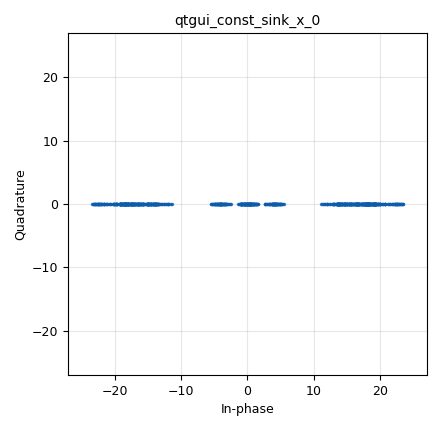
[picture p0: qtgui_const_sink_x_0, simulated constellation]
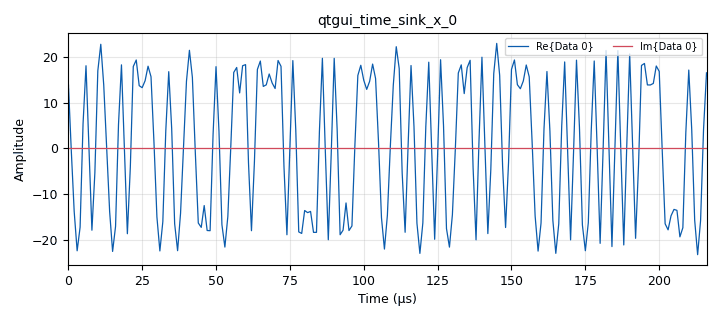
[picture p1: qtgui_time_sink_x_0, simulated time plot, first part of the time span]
<?xml version='1.0' encoding='utf-8'?>
<?grc format='1' created='3.7.11'?>
<flow_graph>
<block>
<key>options</key>
<param><key>id</key><value>signal_tx</value></param>
<param><key>generate_options</key><value>qt_gui</value></param>
</block>
<block>
<key>variable</key>
<param><key>id</key><value>bandwidth</value></param>
<param><key>value</key><value>1e6</value></param>
</block>
<block>
<key>variable</key>
<param><key>id</key><value>samp_rate</value></param>
<param><key>value</key><value>1e6</value></param>
</block>
<block>
<key>analog_random_source_x</key>
<param><key>id</key><value>analog_random_source_x_0</value></param>
<param><key>max</key><value>2**8</value></param>
<param><key>min</key><value>0</value></param>
<param><key>num_samps</key><value>10000</value></param>
<param><key>type</key><value>byte</value></param>
<param><key>repeat</key><value>True</value></param>
</block>
<block>
<key>blocks_multiply_const_vxx</key>
<param><key>id</key><value>blocks_multiply_const_vxx_0</value></param>
<param><key>const</key><value>15</value></param>
<param><key>type</key><value>complex</value></param>
</block>
<block>
<key>digital_psk_mod</key>
<param><key>id</key><value>digital_psk_mod_0</value></param>
<param><key>differential</key><value>True</value></param>
<param><key>excess_bw</key><value>0.35</value></param>
<param><key>mod_code</key><value>"gray"</value></param>
<param><key>constellation_points</key><value>2</value></param>
<param><key>samples_per_symbol</key><value>2</value></param>
</block>
<block>
<key>qtgui_const_sink_x</key>
<param><key>id</key><value>qtgui_const_sink_x_0</value></param>
<param><key>autoscale</key><value>True</value></param>
<param><key>size</key><value>1024</value></param>
<param><key>type</key><value>complex</value></param>
</block>
<block>
<key>qtgui_time_sink_x</key>
<param><key>id</key><value>qtgui_time_sink_x_0</value></param>
<param><key>autoscale</key><value>True</value></param>
<param><key>color1</key><value>"blue"</value></param>
<param><key>label1</key><value></value></param>
<param><key>color2</key><value>"red"</value></param>
<param><key>label2</key><value></value></param>
<param><key>size</key><value>1024</value></param>
<param><key>srate</key><value>samp_rate</value></param>
<param><key>type</key><value>complex</value></param>
</block>
<block>
<key>uhd_usrp_sink</key>
<param><key>id</key><value>uhd_usrp_sink_0</value></param>
<param><key>ant0</key><value></value></param>
<param><key>center_freq0</key><value>2622e6</value></param>
<param><key>norm_gain0</key><value>False</value></param>
<param><key>gain0</key><value>60</value></param>
<param><key>clock_rate</key><value>0.0</value></param>
<param><key>dev_args</key><value>""</value></param>
<param><key>type</key><value>fc32</value></param>
<param><key>samp_rate</key><value>samp_rate</value></param>
<param><key>hide_cmd_port</key><value>False</value></param>
<param><key>hide_lo_controls</key><value>True</value></param>
<param><key>sync</key><value></value></param>
<param><key>len_tag_name</key><value></value></param>
</block>
<connection><source_block_id>analog_random_source_x_0</source_block_id><sink_block_id>digital_psk_mod_0</sink_block_id><source_key>0</source_key><sink_key>0</sink_key></connection>
<connection><source_block_id>blocks_multiply_const_vxx_0</source_block_id><sink_block_id>qtgui_const_sink_x_0</sink_block_id><source_key>0</source_key><sink_key>0</sink_key></connection>
<connection><source_block_id>blocks_multiply_const_vxx_0</source_block_id><sink_block_id>qtgui_time_sink_x_0</sink_block_id><source_key>0</source_key><sink_key>0</sink_key></connection>
<connection><source_block_id>blocks_multiply_const_vxx_0</source_block_id><sink_block_id>uhd_usrp_sink_0</sink_block_id><source_key>0</source_key><sink_key>0</sink_key></connection>
<connection><source_block_id>digital_psk_mod_0</source_block_id><sink_block_id>blocks_multiply_const_vxx_0</sink_block_id><source_key>0</source_key><sink_key>0</sink_key></connection>
</flow_graph>
